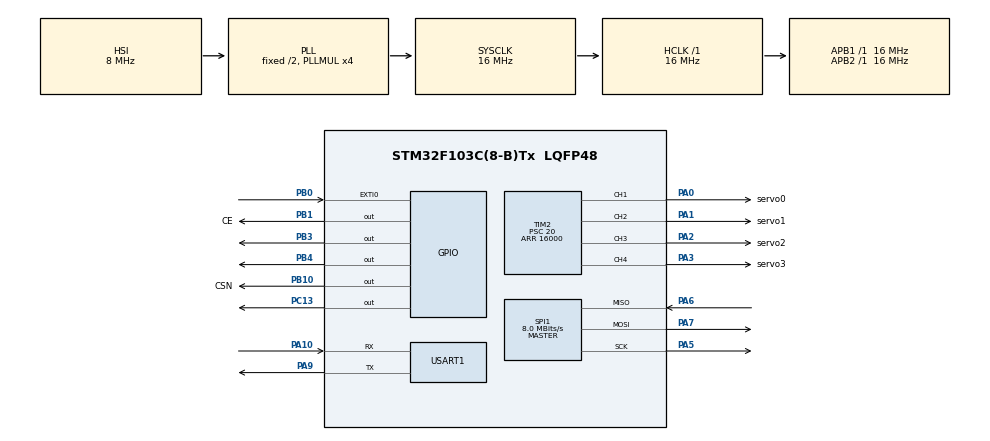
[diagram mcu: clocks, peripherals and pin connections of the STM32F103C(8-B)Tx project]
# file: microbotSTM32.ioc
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Mcu.Family=STM32F1
Mcu.Name=STM32F103C(8-B)Tx
Mcu.Package=LQFP48
NVIC.EXTI0_IRQn=true\:0\:0\:false\:false\:true\:true\:true\:true
NVIC.PriorityGroup=NVIC_PRIORITYGROUP_4
NVIC.SPI1_IRQn=true\:0\:0\:false\:false\:true\:true\:true\:true
NVIC.USART1_IRQn=true\:0\:0\:false\:false\:true\:true\:true\:true
PA0-WKUP.GPIO_Label=servo0
PA0-WKUP.Signal=S_TIM2_CH1_ETR
PA1.GPIO_Label=servo1
PA1.Signal=S_TIM2_CH2
PA10.Mode=Asynchronous
PA10.Signal=USART1_RX
PA2.GPIO_Label=servo2
PA2.Signal=S_TIM2_CH3
PA3.GPIO_Label=servo3
PA3.Signal=S_TIM2_CH4
PA5.Mode=Full_Duplex_Master
PA5.Signal=SPI1_SCK
PA6.Mode=Full_Duplex_Master
PA6.Signal=SPI1_MISO
PA7.Mode=Full_Duplex_Master
PA7.Signal=SPI1_MOSI
PA9.Mode=Asynchronous
PA9.Signal=USART1_TX
PB0.GPIO_ModeDefaultEXTI=GPIO_MODE_IT_FALLING
PB0.Signal=GPXTI0
PB1.GPIO_Label=CE
PB1.GPIO_Speed=GPIO_SPEED_FREQ_HIGH
PB1.Signal=GPIO_Output
PB10.GPIO_Label=CSN
PB10.GPIO_Speed=GPIO_SPEED_FREQ_HIGH
PB10.Signal=GPIO_Output
PB3.Signal=GPIO_Output
PB4.Signal=GPIO_Output
PC13-TAMPER-RTC.Signal=GPIO_Output
ProjectManager.HeapSize=0x200
ProjectManager.StackSize=0x400
ProjectManager.TargetToolchain=CMake
RCC.AHBFreq_Value=16000000
RCC.APB1Freq_Value=16000000
RCC.APB1TimFreq_Value=16000000
RCC.APB2Freq_Value=16000000
RCC.APB2TimFreq_Value=16000000
RCC.HCLKFreq_Value=16000000
RCC.PLLMUL=RCC_PLL_MUL4
RCC.SYSCLKFreq_VALUE=16000000
RCC.SYSCLKSource=RCC_SYSCLKSOURCE_PLLCLK
RCC.USBFreq_Value=16000000
SH.S_TIM2_CH1_ETR.0=TIM2_CH1,PWM Generation1 CH1
SH.S_TIM2_CH2.0=TIM2_CH2,PWM Generation2 CH2
SH.S_TIM2_CH3.0=TIM2_CH3,PWM Generation3 CH3
SH.S_TIM2_CH4.0=TIM2_CH4,PWM Generation4 CH4
SPI1.CalculateBaudRate=8.0 MBits/s
SPI1.Direction=SPI_DIRECTION_2LINES
SPI1.Mode=SPI_MODE_MASTER
SPI1.VirtualType=VM_MASTER
TIM1.Prescaler=15
TIM2.Channel-PWM\ Generation1\ CH1=TIM_CHANNEL_1
TIM2.Channel-PWM\ Generation2\ CH2=TIM_CHANNEL_2
TIM2.Channel-PWM\ Generation3\ CH3=TIM_CHANNEL_3
TIM2.Channel-PWM\ Generation4\ CH4=TIM_CHANNEL_4
TIM2.Period=16000
TIM2.Prescaler=20
USART1.VirtualMode=VM_ASYNC
VP_SYS_VS_ND.Mode=No_Debug
VP_TIM1_VS_ClockSourceINT.Mode=Internal
VP_TIM2_VS_ClockSourceINT.Mode=Internal
board=custom

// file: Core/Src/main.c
/* USER CODE BEGIN Header */
/**
  ******************************************************************************
  * @file           : main.c
  * @brief          : Main program body
  ******************************************************************************
  * @attention
  *
  * Copyright (c) 2026 STMicroelectronics.
  * All rights reserved.
  *
  * This software is licensed under terms that can be found in the LICENSE file
  * in the root directory of this software component.
  * If no LICENSE file comes with this software, it is provided AS-IS.
  *
  ******************************************************************************
  */
/* USER CODE END Header */
#include "main.h"

/* USER CODE BEGIN Includes */
#include <stdint.h>
#include <string.h>
#include <stdio.h>
#include "NRF24.h"
#include "NRF24_reg_addresses.h"
#include "stm32f1xx_hal.h"
#include "stm32f1xx_hal_uart.h"
#include "ServoPair.h"
/* USER CODE END Includes */

/* USER CODE BEGIN PD */

#define PLD_SIZE 32
// #define tx

/* USER CODE END PD */

SPI_HandleTypeDef hspi1;

TIM_HandleTypeDef htim1;
TIM_HandleTypeDef htim2;

UART_HandleTypeDef huart1;

void SystemClock_Config(void);
static void MX_GPIO_Init(void);
static void MX_TIM2_Init(void);
static void MX_SPI1_Init(void);
static void MX_USART1_UART_Init(void);
static void MX_TIM1_Init(void);

/* USER CODE BEGIN 0 */
#ifdef tx
uint8_t data_T[PLD_SIZE] = {"hello"};
#else
uint8_t data_R[PLD_SIZE];
#endif

extern TIM_HandleTypeDef htim2;

ServoPair pair1;
ServoPair pair2;

/* USER CODE END 0 */

int main(void)
{

  /* MCU Configuration--------------------------------------------------------*/

  /* Reset of all peripherals, Initializes the Flash interface and the Systick. */
  HAL_Init();

  /* Configure the system clock */
  SystemClock_Config();

  /* Initialize all configured peripherals */
  MX_GPIO_Init();
  MX_TIM2_Init();
  MX_SPI1_Init();
  MX_USART1_UART_Init();
  MX_TIM1_Init();
  /* USER CODE BEGIN 2 */
  csn_high();
  nrf24_init();
  nrf24_tx_pwr(_0dbm);
  nrf24_data_rate(_1mbps);
  nrf24_set_channel(78);
  nrf24_pipe_pld_size(0, PLD_SIZE);
  nrf24_set_crc(en_crc, _1byte);
  uint8_t addr[5] = {0x10, 0x21, 0x32, 0x43, 0x54};
  nrf24_open_tx_pipe(addr);
  nrf24_open_rx_pipe(0, addr);

#ifdef tx
  nrf24_stop_listen();
#else
  nrf24_listen();
#endif

  HAL_TIM_PWM_Start(&htim2, TIM_CHANNEL_1);
  HAL_TIM_PWM_Start(&htim2, TIM_CHANNEL_2);
  HAL_TIM_PWM_Start(&htim2, TIM_CHANNEL_3);
  HAL_TIM_PWM_Start(&htim2, TIM_CHANNEL_4);

  ServoPair_init(&pair1, TIM_CHANNEL_1, TIM_CHANNEL_2);
  ServoPair_init(&pair2, TIM_CHANNEL_3, TIM_CHANNEL_4);
  /* USER CODE END 2 */

  /* Infinite loop */
  while (1)
  {

    /* USER CODE BEGIN 3 */
#ifdef tx
    nrf24_transmit(data_T, sizeof(data_T));
#else
    nrf24_listen();
    if(nrf24_data_available()) {
      nrf24_receive(data_R, sizeof(data_R));
    }

    char temp[40];
    sprintf(temp, "| %s |\r\n", data_R);
    HAL_UART_Transmit(&huart1, temp, strlen(temp), 100);

    for(uint8_t i=0; i<sizeof(data_R); i++) {
      data_R[i] = '\0';
    }
#endif

    HAL_GPIO_TogglePin(GPIOC, GPIO_PIN_13); // LED
    HAL_GPIO_TogglePin(GPIOB, GPIO_PIN_3); // electromagnet 1
    HAL_GPIO_TogglePin(GPIOB, GPIO_PIN_4); // electromagnet 2
    ServoPair_set(&pair1, 0, 25);
    ServoPair_set(&pair2, 50, 100);

    HAL_Delay(500);
  }
  /* USER CODE END 3 */
}

void SystemClock_Config(void)
{
  RCC_OscInitTypeDef RCC_OscInitStruct = {0};
  RCC_ClkInitTypeDef RCC_ClkInitStruct = {0};

  /** Initializes the RCC Oscillators according to the specified parameters
  * in the RCC_OscInitTypeDef structure.
  */
  RCC_OscInitStruct.OscillatorType = RCC_OSCILLATORTYPE_HSI;
  RCC_OscInitStruct.HSIState = RCC_HSI_ON;
  RCC_OscInitStruct.HSICalibrationValue = RCC_HSICALIBRATION_DEFAULT;
  RCC_OscInitStruct.PLL.PLLState = RCC_PLL_ON;
  RCC_OscInitStruct.PLL.PLLSource = RCC_PLLSOURCE_HSI_DIV2;
  RCC_OscInitStruct.PLL.PLLMUL = RCC_PLL_MUL4;
  if (HAL_RCC_OscConfig(&RCC_OscInitStruct) != HAL_OK)
  {
    Error_Handler();
  }

  /** Initializes the CPU, AHB and APB buses clocks
  */
  RCC_ClkInitStruct.ClockType = RCC_CLOCKTYPE_HCLK|RCC_CLOCKTYPE_SYSCLK
                              |RCC_CLOCKTYPE_PCLK1|RCC_CLOCKTYPE_PCLK2;
  RCC_ClkInitStruct.SYSCLKSource = RCC_SYSCLKSOURCE_PLLCLK;
  RCC_ClkInitStruct.AHBCLKDivider = RCC_SYSCLK_DIV1;
  RCC_ClkInitStruct.APB1CLKDivider = RCC_HCLK_DIV1;
  RCC_ClkInitStruct.APB2CLKDivider = RCC_HCLK_DIV1;

  if (HAL_RCC_ClockConfig(&RCC_ClkInitStruct, FLASH_LATENCY_0) != HAL_OK)
  {
    Error_Handler();
  }
}

static void MX_SPI1_Init(void)
{

  /* SPI1 parameter configuration*/
  hspi1.Instance = SPI1;
  hspi1.Init.Mode = SPI_MODE_MASTER;
  hspi1.Init.Direction = SPI_DIRECTION_2LINES;
  hspi1.Init.DataSize = SPI_DATASIZE_8BIT;
  hspi1.Init.CLKPolarity = SPI_POLARITY_LOW;
  hspi1.Init.CLKPhase = SPI_PHASE_1EDGE;
  hspi1.Init.NSS = SPI_NSS_SOFT;
  hspi1.Init.BaudRatePrescaler = SPI_BAUDRATEPRESCALER_2;
  hspi1.Init.FirstBit = SPI_FIRSTBIT_MSB;
  hspi1.Init.TIMode = SPI_TIMODE_DISABLE;
  hspi1.Init.CRCCalculation = SPI_CRCCALCULATION_DISABLE;
  hspi1.Init.CRCPolynomial = 10;
  if (HAL_SPI_Init(&hspi1) != HAL_OK)
  {
    Error_Handler();
  }

}

static void MX_TIM1_Init(void)
{

  TIM_ClockConfigTypeDef sClockSourceConfig = {0};
  TIM_MasterConfigTypeDef sMasterConfig = {0};

  htim1.Instance = TIM1;
  htim1.Init.Prescaler = 15;
  htim1.Init.CounterMode = TIM_COUNTERMODE_UP;
  htim1.Init.Period = 65535;
  htim1.Init.ClockDivision = TIM_CLOCKDIVISION_DIV1;
  htim1.Init.RepetitionCounter = 0;
  htim1.Init.AutoReloadPreload = TIM_AUTORELOAD_PRELOAD_DISABLE;
  if (HAL_TIM_Base_Init(&htim1) != HAL_OK)
  {
    Error_Handler();
  }
  sClockSourceConfig.ClockSource = TIM_CLOCKSOURCE_INTERNAL;
  if (HAL_TIM_ConfigClockSource(&htim1, &sClockSourceConfig) != HAL_OK)
  {
    Error_Handler();
  }
  sMasterConfig.MasterOutputTrigger = TIM_TRGO_RESET;
  sMasterConfig.MasterSlaveMode = TIM_MASTERSLAVEMODE_DISABLE;
  if (HAL_TIMEx_MasterConfigSynchronization(&htim1, &sMasterConfig) != HAL_OK)
  {
    Error_Handler();
  }

}

static void MX_TIM2_Init(void)
{

  TIM_ClockConfigTypeDef sClockSourceConfig = {0};
  TIM_MasterConfigTypeDef sMasterConfig = {0};
  TIM_OC_InitTypeDef sConfigOC = {0};

  htim2.Instance = TIM2;
  htim2.Init.Prescaler = 20;
  htim2.Init.CounterMode = TIM_COUNTERMODE_UP;
  htim2.Init.Period = 16000;
  htim2.Init.ClockDivision = TIM_CLOCKDIVISION_DIV1;
  htim2.Init.AutoReloadPreload = TIM_AUTORELOAD_PRELOAD_DISABLE;
  if (HAL_TIM_Base_Init(&htim2) != HAL_OK)
  {
    Error_Handler();
  }
  sClockSourceConfig.ClockSource = TIM_CLOCKSOURCE_INTERNAL;
  if (HAL_TIM_ConfigClockSource(&htim2, &sClockSourceConfig) != HAL_OK)
  {
    Error_Handler();
  }
  if (HAL_TIM_PWM_Init(&htim2) != HAL_OK)
  {
    Error_Handler();
  }
  sMasterConfig.MasterOutputTrigger = TIM_TRGO_RESET;
  sMasterConfig.MasterSlaveMode = TIM_MASTERSLAVEMODE_DISABLE;
  if (HAL_TIMEx_MasterConfigSynchronization(&htim2, &sMasterConfig) != HAL_OK)
  {
    Error_Handler();
  }
  sConfigOC.OCMode = TIM_OCMODE_PWM1;
  sConfigOC.Pulse = 0;
  sConfigOC.OCPolarity = TIM_OCPOLARITY_HIGH;
  sConfigOC.OCFastMode = TIM_OCFAST_DISABLE;
  if (HAL_TIM_PWM_ConfigChannel(&htim2, &sConfigOC, TIM_CHANNEL_1) != HAL_OK)
  {
    Error_Handler();
  }
  if (HAL_TIM_PWM_ConfigChannel(&htim2, &sConfigOC, TIM_CHANNEL_2) != HAL_OK)
  {
    Error_Handler();
  }
  if (HAL_TIM_PWM_ConfigChannel(&htim2, &sConfigOC, TIM_CHANNEL_3) != HAL_OK)
  {
    Error_Handler();
  }
  if (HAL_TIM_PWM_ConfigChannel(&htim2, &sConfigOC, TIM_CHANNEL_4) != HAL_OK)
  {
    Error_Handler();
  }
  HAL_TIM_MspPostInit(&htim2);

}

static void MX_USART1_UART_Init(void)
{

  huart1.Instance = USART1;
  huart1.Init.BaudRate = 115200;
  huart1.Init.WordLength = UART_WORDLENGTH_8B;
  huart1.Init.StopBits = UART_STOPBITS_1;
  huart1.Init.Parity = UART_PARITY_NONE;
  huart1.Init.Mode = UART_MODE_TX_RX;
  huart1.Init.HwFlowCtl = UART_HWCONTROL_NONE;
  huart1.Init.OverSampling = UART_OVERSAMPLING_16;
  if (HAL_UART_Init(&huart1) != HAL_OK)
  {
    Error_Handler();
  }

}

static void MX_GPIO_Init(void)
{
  GPIO_InitTypeDef GPIO_InitStruct = {0};

  /* GPIO Ports Clock Enable */
  __HAL_RCC_GPIOC_CLK_ENABLE();
  __HAL_RCC_GPIOA_CLK_ENABLE();
  __HAL_RCC_GPIOB_CLK_ENABLE();

  /*Configure GPIO pin Output Level */
  HAL_GPIO_WritePin(GPIOC, GPIO_PIN_13, GPIO_PIN_RESET);

  /*Configure GPIO pin Output Level */
  HAL_GPIO_WritePin(GPIOB, CE_Pin|CSN_Pin|GPIO_PIN_3|GPIO_PIN_4, GPIO_PIN_RESET);

  /*Configure GPIO pin : PC13 */
  GPIO_InitStruct.Pin = GPIO_PIN_13;
  GPIO_InitStruct.Mode = GPIO_MODE_OUTPUT_PP;
  GPIO_InitStruct.Pull = GPIO_NOPULL;
  GPIO_InitStruct.Speed = GPIO_SPEED_FREQ_LOW;
  HAL_GPIO_Init(GPIOC, &GPIO_InitStruct);

  /*Configure GPIO pin : PB0 */
  GPIO_InitStruct.Pin = GPIO_PIN_0;
  GPIO_InitStruct.Mode = GPIO_MODE_IT_FALLING;
  GPIO_InitStruct.Pull = GPIO_NOPULL;
  HAL_GPIO_Init(GPIOB, &GPIO_InitStruct);

  /*Configure GPIO pins : CE_Pin CSN_Pin */
  GPIO_InitStruct.Pin = CE_Pin|CSN_Pin;
  GPIO_InitStruct.Mode = GPIO_MODE_OUTPUT_PP;
  GPIO_InitStruct.Pull = GPIO_NOPULL;
  GPIO_InitStruct.Speed = GPIO_SPEED_FREQ_HIGH;
  HAL_GPIO_Init(GPIOB, &GPIO_InitStruct);

  /*Configure GPIO pins : PB3 PB4 */
  GPIO_InitStruct.Pin = GPIO_PIN_3|GPIO_PIN_4;
  GPIO_InitStruct.Mode = GPIO_MODE_OUTPUT_PP;
  GPIO_InitStruct.Pull = GPIO_NOPULL;
  GPIO_InitStruct.Speed = GPIO_SPEED_FREQ_LOW;
  HAL_GPIO_Init(GPIOB, &GPIO_InitStruct);

  /* EXTI interrupt init*/
  HAL_NVIC_SetPriority(EXTI0_IRQn, 0, 0);
  HAL_NVIC_EnableIRQ(EXTI0_IRQn);

}

void Error_Handler(void)
{
  __disable_irq();
  while (1)
  {
  }
}
